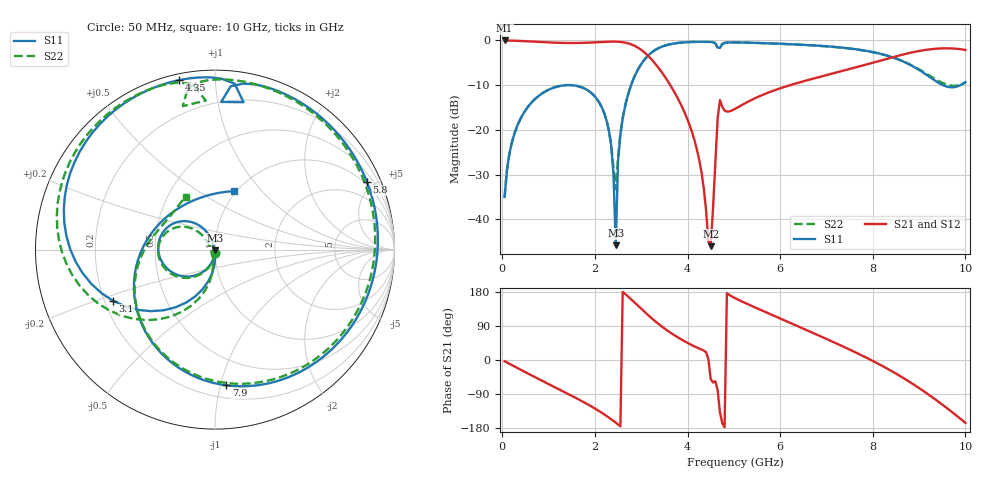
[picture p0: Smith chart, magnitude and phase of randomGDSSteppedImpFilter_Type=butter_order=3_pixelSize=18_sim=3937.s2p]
! freq	dB(S11)	phase(S11)	dB(S12)	phase(S12)
!  dB(S21)	phase(S21)	dB(S22)	phase(S22)
!S-par simulation data
#  GHz  S  DB  R 50
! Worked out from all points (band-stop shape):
!   200 points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, 50 MHz to 10 GHz, reference 50 ohm
!   highest |S21| = -0.01 dB at 50 MHz (marker M1); lowest = -46.0 dB at 4.5 GHz (marker M2)
!   |S21| within 3 dB of the highest: start of sweep to 3.104 GHz; 8.711 GHz to end of sweep
!   lowest |S11| = -45.8 dB at 2.45 GHz (marker M3), VSWR 1.01, Z = 49.8 - j0.484 ohm
!   |S11| at or under -10 dB: start of sweep to 1.385 GHz; 1.483 GHz to 2.782 GHz (1.299 GHz wide, 60.9 % of centre); 9.517 GHz to 9.889 GHz (372.4 MHz wide, 3.84 % of centre)
!   |S22| runs from -35.0 to -0.3 dB; largest |S21 - S12| = 0
!   S11 on the Smith chart (normalised r, x): 50 MHz: 1.00, -0.04; 3.1 GHz: 0.23, -0.22; 4.35 GHz: 0.03, +0.81; 5.8 GHz: 0.85, +4.54; 7.9 GHz: 0.29, -1.04; 10 GHz: 0.97, +0.72
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0.05  -34.99 -93.3  -0.01 -3.3  -0.01 -3.3  -34.99 -93.1
0.2  -23.11 -103.6  -0.04 -13.0  -0.04 -13.0  -23.11 -102.8
0.55  -14.90 -127.0  -0.19 -35.5  -0.19 -35.5  -14.90 -124.9
1.75  -10.64 155.4  -0.54 -110.7  -0.54 -110.7  -10.63 163.2
2.3  -20.10 113.9  -0.27 -151.8  -0.27 -151.8  -19.98 131.3
2.4  -29.70 106.9  -0.26 -160.6  -0.26 -160.6  -28.41 144.0
2.45  -45.78 -109.0  -0.27 -165.3  -0.27 -165.3  -33.25 -149.4
2.5  -26.94 -88.3  -0.29 -170.1  -0.29 -170.1  -25.97 -102.6
2.6  -17.47 -97.0  -0.40 179.9  -0.40 179.9  -17.31 -96.9
3.1  -3.93 -153.4  -2.97 123.9  -2.97 123.9  -3.91 -144.7
3.4  -1.60 174.7  -6.49 92.6  -6.49 92.6  -1.59 -174.8
4.05  -0.36 121.9  -19.10 41.9  -19.10 41.9  -0.36 135.0
4.35  -0.31 101.9  -33.00 24.8  -33.00 24.8  -0.30 115.9
4.5  -0.35 91.7  -46.00 -50.4  -46.00 -50.4  -0.35 106.0
4.7  -1.69 87.6  -13.35 -138.2  -13.35 -138.2  -1.73 102.7
5.05  -0.44 64.4  -15.17 161.7  -15.17 161.7  -0.45 79.7
5.8  -0.66 24.1  -11.44 120.3  -11.44 120.3  -0.67 38.8
6.7  -1.09 -21.8  -8.58 72.0  -8.58 72.0  -1.12 -10.5
7.9  -2.40 -85.3  -5.28 3.8  -5.28 3.8  -2.43 -81.3
8.35  -3.52 -113.0  -3.98 -25.4  -3.98 -25.4  -3.54 -111.3
9.25  -8.32 172.2  -1.97 -95.2  -1.97 -95.2  -8.02 -178.9
10  -9.30 72.0  -2.13 -166.0  -2.13 -166.0  -9.43 118.8
